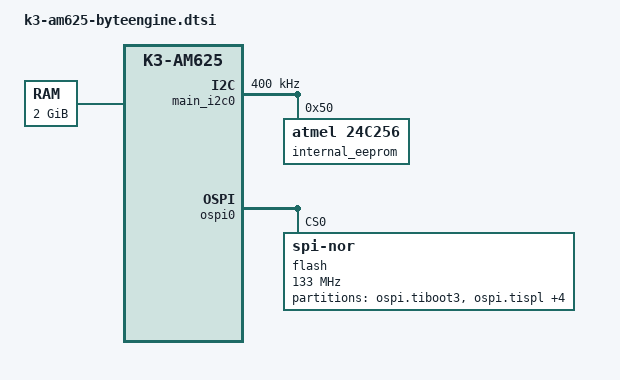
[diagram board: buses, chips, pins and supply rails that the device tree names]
// SPDX-License-Identifier: GPL-2.0
/*
 * Copyright (C) 2022 bytes at work AG - https://www.bytesatwork.io
 *
 * Based on k3-am625-sk.dts and k3-am62x-sk-common.dtsi
 * Copyright (C) 2021-2022 Texas Instruments Incorporated - https://www.ti.com/
 */

#include "k3-am625.dtsi"

/ {
	aliases {
		mmc0 = &sdhci0;
		spi0 = &ospi0;
	};

	memory@80000000 {
		device_type = "memory";
		reg = <0x00000000 0x80000000 0x00000000 0x80000000>; /* 2G RAM */
	};

	reserved-memory {
		#address-cells = <2>;
		#size-cells = <2>;
		ranges;

		secure_tfa_ddr: tfa@9e780000 {
			reg = <0x00 0x9e780000 0x00 0x80000>;
			alignment = <0x1000>;
			no-map;
		};

		secure_ddr: optee@9e800000 {
			reg = <0x00 0x9e800000 0x00 0x01800000>; /* for OP-TEE */
			alignment = <0x1000>;
			no-map;
		};

		wkup_r5fss0_core0_dma_memory_region: r5f-dma-memory@9db00000 {
			compatible = "shared-dma-pool";
			reg = <0x00 0x9db00000 0x00 0xc00000>;
			no-map;
		};
	};
};

&main_pmx0 {
	main_i2c0_pins_default: main-i2c0-pins-default {
		pinctrl-single,pins = <
			AM62X_IOPAD(0x1e0, PIN_INPUT_PULLUP, 0) /* (B16) I2C0_SCL */
			AM62X_IOPAD(0x1e4, PIN_INPUT_PULLUP, 0) /* (A16) I2C0_SDA */
		>;
	};

	main_mmc0_pins_default: main-mmc0-pins-default {
		pinctrl-single,pins = <
			AM62X_IOPAD(0x220, PIN_INPUT, 0) /* (Y3) MMC0_CMD */
			AM62X_IOPAD(0x218, PIN_INPUT, 0) /* (AB1) MMC0_CLK */
			AM62X_IOPAD(0x214, PIN_INPUT, 0) /* (AA2) MMC0_DAT0 */
			AM62X_IOPAD(0x210, PIN_INPUT, 0) /* (AA1) MMC0_DAT1 */
			AM62X_IOPAD(0x20c, PIN_INPUT, 0) /* (AA3) MMC0_DAT2 */
			AM62X_IOPAD(0x208, PIN_INPUT, 0) /* (Y4) MMC0_DAT3 */
			AM62X_IOPAD(0x204, PIN_INPUT, 0) /* (AB2) MMC0_DAT4 */
			AM62X_IOPAD(0x200, PIN_INPUT, 0) /* (AC1) MMC0_DAT5 */
			AM62X_IOPAD(0x1fc, PIN_INPUT, 0) /* (AD2) MMC0_DAT6 */
			AM62X_IOPAD(0x1f8, PIN_INPUT, 0) /* (AC2) MMC0_DAT7 */
		>;
	};

	ospi0_pins_default: ospi0-pins-default {
		pinctrl-single,pins = <
			AM62X_IOPAD(0x000, PIN_OUTPUT, 0) /* (H24) OSPI0_CLK */
			AM62X_IOPAD(0x02c, PIN_OUTPUT, 0) /* (F23) OSPI0_CSn0 */
			AM62X_IOPAD(0x00c, PIN_INPUT, 0) /* (E25) OSPI0_D0 */
			AM62X_IOPAD(0x010, PIN_INPUT, 0) /* (G24) OSPI0_D1 */
			AM62X_IOPAD(0x014, PIN_INPUT, 0) /* (F25) OSPI0_D2 */
			AM62X_IOPAD(0x018, PIN_INPUT, 0) /* (F24) OSPI0_D3 */
		>;
	};
};

&wkup_uart0 {
	status = "disabled";
};

&mcu_uart0 {
	status = "disabled";
};

&main_uart1 {
	status = "disabled";
};

&main_uart2 {
	status = "disabled";
};

&main_uart3 {
	status = "disabled";
};

&main_uart4 {
	status = "disabled";
};

&main_uart5 {
	status = "disabled";
};

&main_uart6 {
	status = "disabled";
};

&mcu_i2c0 {
	status = "disabled";
};

&wkup_i2c0 {
	status = "disabled";
};

&main_i2c0 {
	pinctrl-names = "default";
	pinctrl-0 = <&main_i2c0_pins_default>;
	clock-frequency = <400000>;

	internal_eeprom: eeprom@50 {
		compatible = "atmel,24c256";
		reg = <0x50>;
	};
};

&main_i2c2 {
	status = "disabled";
};

&main_i2c3 {
	status = "disabled";
};

&sdhci0 {
	pinctrl-names = "default";
	pinctrl-0 = <&main_mmc0_pins_default>;
	ti,driver-strength-ohm = <50>;
	disable-wp;
};

&mailbox0_cluster0 {
	mbox_m4_0: mbox-m4-0 {
		ti,mbox-rx = <0 0 0>;
		ti,mbox-tx = <1 0 0>;
	};
};

&ospi0 {
	pinctrl-names = "default";
	pinctrl-0 = <&ospi0_pins_default>;
	status = "okay";

	flash@0{
		compatible = "jedec,spi-nor";
		reg = <0x0>;
		spi-tx-bus-width = <4>;
		spi-rx-bus-width = <4>;
		spi-max-frequency = <133000000>;

		partitions {
			compatible = "fixed-partitions";
			#address-cells = <1>;
			#size-cells = <1>;

			partition@0 {
				label = "ospi.tiboot3";
				reg = <0x0 0x80000>;
			};

			partition@80000 {
				label = "ospi.tispl";
				reg = <0x80000 0x200000>;
			};

			partition@280000 {
				label = "ospi.u-boot";
				reg = <0x280000 0x400000>;
			};

			partition@680000 {
				label = "ospi.env";
				reg = <0x680000 0x40000>;
			};

			partition@6c0000 {
				label = "ospi.env.backup";
				reg = <0x6c0000 0x40000>;
			};

			partition@800000 {
				label = "ospi.rootfs";
				reg = <0x800000 0x800000>;
			};
		};
	};
};
